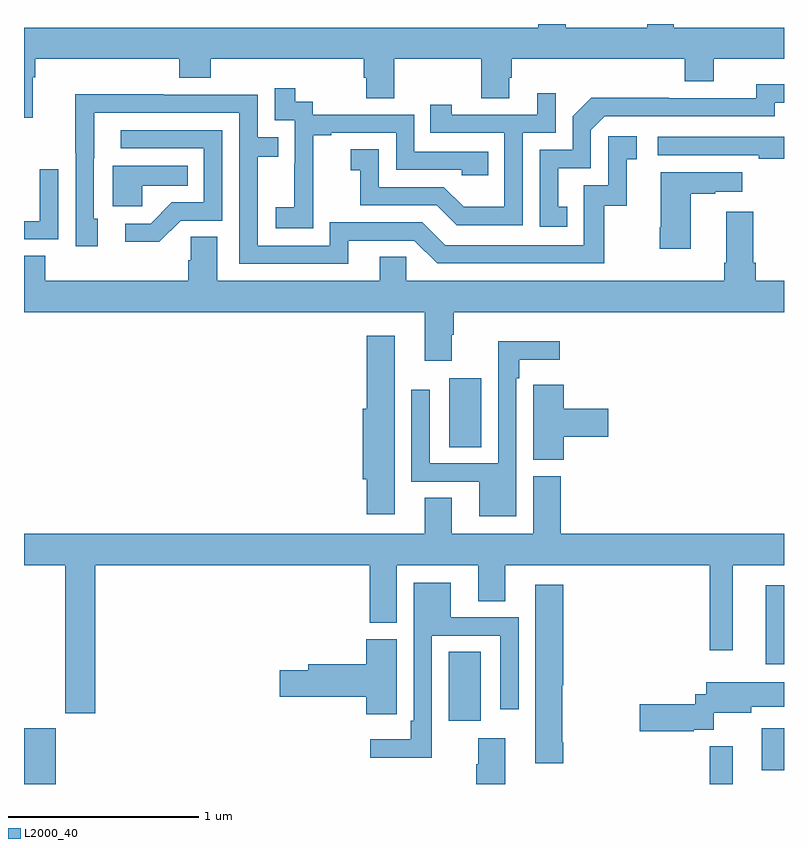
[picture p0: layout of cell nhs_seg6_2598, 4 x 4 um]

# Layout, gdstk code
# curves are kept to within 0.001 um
import gdstk
lib = gdstk.Library(unit=1e-6, precision=1e-09)
def R(c, l, rs):  # rectangles x0, y0, x1, y1
    for r in rs: c.add(gdstk.rectangle(r[:2], r[2:], *l))
def P(c, l, *ps):  # polygons
    for p in ps: c.add(gdstk.Polygon(p, *l))
L2000_40 = (2000, 40)

nhs_seg6_2598 = lib.new_cell('nhs_seg6_2598')
R(nhs_seg6_2598, L2000_40, [(265,963.5,265.168,963.793), (268.608,963.5,268.729,963.7), (268.883,963.573,269,963.793), (267.236,963.834,267.403,964.196), (268.904,964.13,269,964.546), (267.239,965.272,267.406,965.635)])
P(nhs_seg6_2598, L2000_40, [(265.045,967.22),(265.058,967.22),(265.058,967.316),(265.817,967.316),(265.817,967.217),(265.982,967.217),(265.982,967.316),(266.789,967.316),(266.789,967.218),(266.801,967.218),(266.801,967.108),(266.949,967.108),(266.949,967.316),(267.406,967.316),(267.406,967.108),(267.553,967.108),(267.553,967.218),(267.566,967.218),(267.566,967.316),(268.478,967.316),(268.478,967.199),(268.63,967.199),(268.63,967.316),(269,967.316),(269,967.48),(268.42,967.48),(268.42,967.5),(268.28,967.5),(268.28,967.48),(267.85,967.48),(267.85,967.5),(267.707,967.5),(267.707,967.48),(265,967.48),(265,967.007),(265.045,967.007)],
  [(267.86,966.537),(267.811,966.537),(267.811,966.741),(267.984,966.741),(267.984,966.942),(268.056,967.014),(268.95,967.014),(268.95,967.086),(269,967.086),(269,967.183),(268.854,967.183),(268.854,967.11),(268.394,967.11),(268.394,967.112),(267.986,967.112),(267.888,967.014),(267.888,966.837),(267.714,966.837),(267.714,966.432),(267.86,966.432)],
  [(266.523,966.631),(266.522,966.631),(266.522,966.915),(266.617,966.915),(266.617,966.927),(266.958,966.927),(266.958,966.732),(267.303,966.732),(267.303,966.705),(267.443,966.705),(267.443,966.828),(267.054,966.828),(267.054,967.023),(266.52,967.023),(266.52,967.092),(266.428,967.092),(266.428,967.162),(266.319,967.162),(266.319,966.993),(266.424,966.993),(266.424,966.764),(266.423,966.764),(266.423,966.535),(266.325,966.535),(266.325,966.425),(266.523,966.425)],
  [(267.624,966.927),(267.798,966.927),(267.798,967.135),(267.701,967.135),(267.701,967.023),(267.25,967.023),(267.25,967.075),(267.139,967.075),(267.139,966.927),(267.528,966.927),(267.528,966.538),(267.314,966.538),(267.21,966.642),(266.868,966.642),(266.868,966.841),(266.721,966.841),(266.721,966.731),(266.77,966.731),(266.77,966.546),(267.173,966.546),(267.278,966.441),(267.624,966.441)],
  [(266.707,966.36),(267.054,966.36),(267.174,966.24),(268.054,966.24),(268.054,966.543),(268.172,966.543),(268.172,966.789),(268.225,966.789),(268.225,966.91),(268.074,966.91),(268.074,966.651),(267.945,966.651),(267.945,966.336),(267.216,966.336),(267.096,966.456),(266.61,966.456),(266.61,966.333),(266.229,966.333),(266.229,966.802),(266.339,966.802),(266.339,966.903),(266.229,966.903),(266.229,967.128),(265.733,967.128),(265.733,967.13),(265.27,967.13),(265.27,966.823),(265.272,966.823),(265.272,966.33),(265.387,966.33),(265.387,966.474),(265.368,966.474),(265.369,967.032),(266.133,967.032),(266.133,966.237),(266.707,966.237)],
  [(265.824,966.465),(266.043,966.465),(266.043,966.942),(265.509,966.942),(265.509,966.846),(265.947,966.846),(265.947,966.561),(265.778,966.561),(265.667,966.45),(265.533,966.45),(265.533,966.353),(265.711,966.353)],
  [(269,966.906),(268.335,966.906),(268.335,966.81),(268.867,966.81),(268.867,966.79),(269,966.79)],
  [(265.623,966.65),(265.862,966.65),(265.862,966.754),(265.466,966.754),(265.466,966.542),(265.623,966.542)],
  [(265.179,966.736),(265.083,966.736),(265.083,966.462),(265,966.462),(265,966.366),(265.179,966.366)],
  [(268.51,966.607),(268.637,966.607),(268.637,966.617),(268.78,966.617),(268.78,966.721),(268.352,966.721),(268.352,966.43),(268.345,966.43),(268.345,966.318),(268.51,966.318)],
  [(267.11,965.727),(267.25,965.727),(267.25,965.864),(267.263,965.864),(267.263,965.984),(269,965.984),(269,966.148),(268.85,966.148),(268.85,966.244),(268.837,966.244),(268.837,966.511),(268.697,966.511),(268.697,966.244),(268.685,966.244),(268.685,966.148),(267.012,966.148),(267.012,966.275),(266.873,966.275),(266.873,966.148),(266.017,966.148),(266.017,966.38),(265.878,966.38),(265.878,966.257),(265.865,966.257),(265.865,966.148),(265.112,966.148),(265.112,966.281),(265,966.281),(265,965.984),(267.11,965.984)],
  [(266.95,965.86),(266.804,965.86),(266.804,965.475),(266.783,965.475),(266.783,965.103),(266.804,965.103),(266.804,964.92),(266.95,964.92)],
  [(267.591,965.636),(267.607,965.636),(267.607,965.732),(267.82,965.732),(267.82,965.83),(267.495,965.83),(267.495,965.187),(267.135,965.187),(267.135,965.575),(267.039,965.575),(267.039,965.091),(267.395,965.091),(267.395,964.91),(267.591,964.91)],
  [(267.842,965.327),(268.075,965.327),(268.075,965.474),(267.842,965.474),(267.842,965.602),(267.681,965.602),(267.681,965.489),(267.68,965.489),(267.68,965.206),(267.842,965.206)],
  [(265.376,964.652),(266.819,964.652),(266.819,964.348),(266.962,964.348),(266.962,964.652),(267.392,964.652),(267.392,964.462),(267.532,964.462),(267.532,964.652),(268.608,964.652),(268.608,964.203),(268.729,964.203),(268.729,964.652),(269,964.652),(269,964.816),(267.824,964.816),(267.824,965.121),(267.68,965.121),(267.68,964.816),(267.25,964.816),(267.25,965.006),(267.11,965.006),(267.11,964.816),(265,964.816),(265,964.652),(265.216,964.652),(265.216,963.873),(265.376,963.873)],
  [(267.147,964.281),(267.507,964.281),(267.507,963.894),(267.603,963.894),(267.603,964.377),(267.247,964.377),(267.247,964.558),(267.051,964.558),(267.051,963.832),(267.035,963.832),(267.035,963.736),(266.823,963.736),(266.823,963.638),(267.147,963.638)],
  [(267.839,963.721),(267.834,963.721),(267.834,964.021),(267.839,964.021),(267.839,964.549),(267.692,964.549),(267.692,963.609),(267.839,963.609)],
  [(266.961,963.979),(266.962,963.979),(266.962,964.263),(266.801,964.263),(266.801,964.13),(266.495,964.13),(266.495,964.1),(266.346,964.1),(266.346,963.958),(266.801,963.958),(266.801,963.867),(266.961,963.867)],
  [(268.526,963.785),(268.629,963.785),(268.629,963.876),(268.828,963.876),(268.828,963.907),(269,963.907),(269,964.036),(268.592,964.036),(268.592,963.972),(268.533,963.972),(268.533,963.92),(268.242,963.92),(268.242,963.778),(268.526,963.778)],
  [(267.532,963.742),(267.392,963.742),(267.392,963.605),(267.38,963.605),(267.38,963.5),(267.532,963.5)])

lib.write_gds('nhs_seg6_2598.gds')
